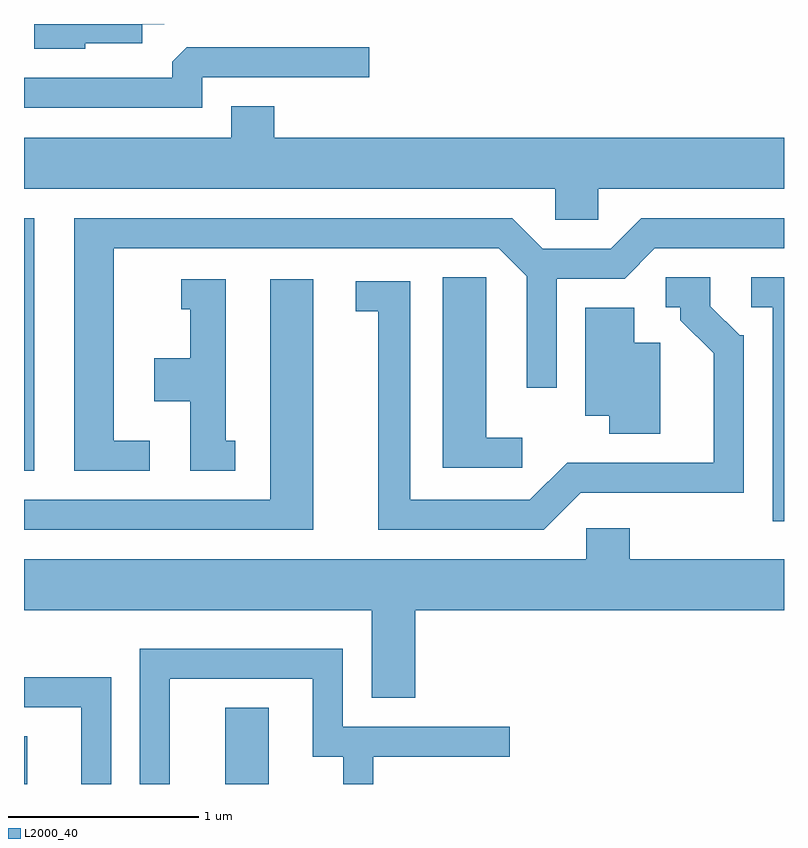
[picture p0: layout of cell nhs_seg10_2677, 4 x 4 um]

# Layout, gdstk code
import gdstk
lib = gdstk.Library(unit=1e-6, precision=1e-09)
def R(c, l, rs):  # rectangles x0, y0, x1, y1
    for r in rs: c.add(gdstk.rectangle(r[:2], r[2:], *l))
def P(c, l, *ps):  # polygons
    for p in ps: c.add(gdstk.Polygon(p, *l))
L2000_40 = (2000, 40)

nhs_seg10_2677 = lib.new_cell('nhs_seg10_2677')
R(nhs_seg10_2677, L2000_40, [(263.611,2148.522,263.629,2148.774), (264.671,2148.522,264.899,2148.924), (263.611,2150.171,263.664,2151.499)])
P(nhs_seg10_2677, L2000_40, [(263.934,2152.421),(264.234,2152.421),(264.234,2152.521),(264.349,2152.521),(264.35,2152.522),(263.666,2152.522),(263.666,2152.391),(263.934,2152.391)],
  [(264.549,2152.241),(265.428,2152.241),(265.428,2152.399),(264.467,2152.399),(264.391,2152.324),(264.391,2152.239),(263.611,2152.239),(263.611,2152.081),(264.549,2152.081)],
  [(266.634,2151.656),(267.611,2151.656),(267.611,2151.924),(264.929,2151.924),(264.929,2152.089),(264.701,2152.089),(264.701,2151.924),(263.611,2151.924),(263.611,2151.656),(266.406,2151.656),(266.406,2151.491),(266.634,2151.491)],
  [(264.273,2150.329),(264.084,2150.329),(264.084,2151.341),(266.109,2151.341),(266.256,2151.194),(266.256,2150.608),(266.414,2150.608),(266.414,2151.181),(266.772,2151.181),(266.932,2151.341),(267.611,2151.341),(267.611,2151.499),(266.859,2151.499),(266.699,2151.339),(266.342,2151.339),(266.182,2151.499),(263.876,2151.499),(263.876,2150.171),(264.273,2150.171)],
  [(267.611,2151.189),(267.438,2151.189),(267.438,2151.031),(267.551,2151.031),(267.551,2149.906),(267.611,2149.906)],
  [(266.233,2150.344),(266.044,2150.344),(266.044,2151.189),(265.816,2151.189),(265.816,2150.186),(266.233,2150.186)],
  [(266.542,2150.056),(267.399,2150.056),(267.399,2150.884),(267.377,2150.884),(267.224,2151.037),(267.224,2151.189),(266.988,2151.189),(266.988,2151.031),(267.066,2151.031),(267.066,2150.964),(267.241,2150.789),(267.241,2150.214),(266.469,2150.214),(266.274,2150.019),(265.644,2150.019),(265.644,2151.169),(265.358,2151.169),(265.358,2151.011),(265.476,2151.011),(265.476,2149.861),(266.347,2149.861)],
  [(264.723,2150.329),(264.674,2150.329),(264.674,2151.179),(264.438,2151.179),(264.438,2151.021),(264.486,2151.021),(264.486,2150.764),(264.296,2150.764),(264.296,2150.536),(264.486,2150.536),(264.486,2150.171),(264.723,2150.171)],
  [(265.134,2151.179),(264.906,2151.179),(264.906,2150.019),(263.611,2150.019),(263.611,2149.861),(265.134,2149.861)],
  [(266.959,2150.844),(266.824,2150.844),(266.824,2151.029),(266.566,2151.029),(266.566,2150.461),(266.691,2150.461),(266.691,2150.366),(266.959,2150.366)],
  [(265.669,2149.436),(267.611,2149.436),(267.611,2149.704),(266.799,2149.704),(266.799,2149.869),(266.571,2149.869),(266.571,2149.704),(263.611,2149.704),(263.611,2149.436),(265.441,2149.436),(265.441,2148.976),(265.669,2148.976)],
  [(264.379,2149.076),(265.131,2149.076),(265.131,2148.666),(265.291,2148.666),(265.291,2148.522),(265.449,2148.522),(265.449,2148.666),(266.168,2148.666),(266.168,2148.824),(265.289,2148.824),(265.289,2149.234),(264.221,2149.234),(264.221,2148.522),(264.379,2148.522)],
  [(264.069,2149.084),(263.611,2149.084),(263.611,2148.926),(263.911,2148.926),(263.911,2148.522),(264.069,2148.522)])

lib.write_gds('nhs_seg10_2677.gds')
